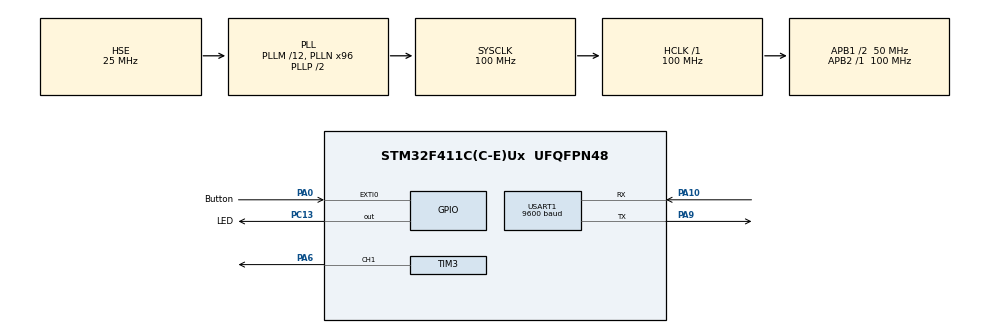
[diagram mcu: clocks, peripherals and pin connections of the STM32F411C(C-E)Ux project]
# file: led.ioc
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Mcu.Family=STM32F4
Mcu.Name=STM32F411C(C-E)Ux
Mcu.Package=UFQFPN48
NVIC.EXTI0_IRQn=true\:0\:0\:false\:false\:true\:true\:true\:true
NVIC.PriorityGroup=NVIC_PRIORITYGROUP_4
NVIC.USART1_IRQn=true\:0\:0\:false\:false\:true\:true\:true\:true
PA0-WKUP.GPIO_Label=Button
PA0-WKUP.GPIO_ModeDefaultEXTI=GPIO_MODE_IT_FALLING
PA0-WKUP.GPIO_PuPd=GPIO_PULLUP
PA0-WKUP.Signal=GPXTI0
PA10.Mode=Asynchronous
PA10.Signal=USART1_RX
PA13.Mode=Serial_Wire
PA13.Signal=SYS_JTMS-SWDIO
PA14.Mode=Serial_Wire
PA14.Signal=SYS_JTCK-SWCLK
PA6.Signal=S_TIM3_CH1
PA9.Mode=Asynchronous
PA9.Signal=USART1_TX
PC13-ANTI_TAMP.GPIO_Label=LED
PC13-ANTI_TAMP.PinState=GPIO_PIN_SET
PC13-ANTI_TAMP.Signal=GPIO_Output
PH0\ -\ OSC_IN.Mode=HSE-External-Oscillator
PH0\ -\ OSC_IN.Signal=RCC_OSC_IN
PH1\ -\ OSC_OUT.Mode=HSE-External-Oscillator
PH1\ -\ OSC_OUT.Signal=RCC_OSC_OUT
ProjectManager.HeapSize=0x200
ProjectManager.StackSize=0x400
ProjectManager.TargetToolchain=STM32CubeIDE
RCC.48MHZClocksFreq_Value=50000000
RCC.AHBFreq_Value=100000000
RCC.APB1CLKDivider=RCC_HCLK_DIV2
RCC.APB1Freq_Value=50000000
RCC.APB1TimFreq_Value=100000000
RCC.APB2Freq_Value=100000000
RCC.APB2TimFreq_Value=100000000
RCC.CortexFreq_Value=100000000
RCC.HCLKFreq_Value=100000000
RCC.HSE_VALUE=25000000
RCC.HSI_VALUE=16000000
RCC.LSE_VALUE=32768
RCC.PLLM=12
RCC.PLLN=96
RCC.PLLSourceVirtual=RCC_PLLSOURCE_HSE
RCC.SYSCLKFreq_VALUE=100000000
RCC.SYSCLKSource=RCC_SYSCLKSOURCE_PLLCLK
RCC.VCOOutputFreq_Value=200000000
SH.S_TIM3_CH1.0=TIM3_CH1,PWM Generation1 CH1
TIM3.AutoReloadPreload=TIM_AUTORELOAD_PRELOAD_ENABLE
TIM3.Channel-PWM\ Generation1\ CH1=TIM_CHANNEL_1
TIM3.Period=999
TIM3.Prescaler=99
TIM3.Pulse-PWM\ Generation1\ CH1=0
USART1.BaudRate=9600
USART1.VirtualMode=VM_ASYNC
VP_TIM3_VS_ClockSourceINT.Mode=Internal
board=custom

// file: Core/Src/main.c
/* USER CODE BEGIN Header */
/**
  ******************************************************************************
  * @file           : main.c
  * @brief          : Main program body
  ******************************************************************************
  * @attention
  *
  * Copyright (c) 2025 STMicroelectronics.
  * All rights reserved.
  *
  * This software is licensed under terms that can be found in the LICENSE file
  * in the root directory of this software component.
  * If no LICENSE file comes with this software, it is provided AS-IS.
  *
  ******************************************************************************
  */
/* USER CODE END Header */
#include "main.h"

/* USER CODE BEGIN Includes */
#include "led.h"
#include "string.h"
/* USER CODE END Includes */

/* USER CODE BEGIN PD */
uint8_t a;
uint8_t flag=0;
/* USER CODE END PD */

TIM_HandleTypeDef htim3;

UART_HandleTypeDef huart1;

void SystemClock_Config(void);
static void MX_GPIO_Init(void);
static void MX_TIM3_Init(void);
static void MX_USART1_UART_Init(void);

int main(void)
{

  /* USER CODE BEGIN 1 */
	char msg[]="hello\n";
  /* USER CODE END 1 */

  /* MCU Configuration--------------------------------------------------------*/

  /* Reset of all peripherals, Initializes the Flash interface and the Systick. */
  HAL_Init();

  /* Configure the system clock */
  SystemClock_Config();

  /* Initialize all configured peripherals */
  MX_GPIO_Init();
  MX_TIM3_Init();
  MX_USART1_UART_Init();
  /* USER CODE BEGIN 2 */
  HAL_TIM_PWM_Start(&htim3, TIM_CHANNEL_1);
  HAL_UART_Receive_IT(&huart1, &a, 1);
  /* USER CODE END 2 */

  /* Infinite loop */
  while (1)
  {

    /* USER CODE BEGIN 3 */

	  if(flag==0)
	  {
	   HAL_UART_Transmit(&huart1, (uint8_t*)msg, strlen(msg), 100);
	   HAL_Delay(500);
	  }

  }
  /* USER CODE END 3 */
}

void SystemClock_Config(void)
{
  RCC_OscInitTypeDef RCC_OscInitStruct = {0};
  RCC_ClkInitTypeDef RCC_ClkInitStruct = {0};

  /** Configure the main internal regulator output voltage
  */
  __HAL_RCC_PWR_CLK_ENABLE();
  __HAL_PWR_VOLTAGESCALING_CONFIG(PWR_REGULATOR_VOLTAGE_SCALE1);

  /** Initializes the RCC Oscillators according to the specified parameters
  * in the RCC_OscInitTypeDef structure.
  */
  RCC_OscInitStruct.OscillatorType = RCC_OSCILLATORTYPE_HSE;
  RCC_OscInitStruct.HSEState = RCC_HSE_ON;
  RCC_OscInitStruct.PLL.PLLState = RCC_PLL_ON;
  RCC_OscInitStruct.PLL.PLLSource = RCC_PLLSOURCE_HSE;
  RCC_OscInitStruct.PLL.PLLM = 12;
  RCC_OscInitStruct.PLL.PLLN = 96;
  RCC_OscInitStruct.PLL.PLLP = RCC_PLLP_DIV2;
  RCC_OscInitStruct.PLL.PLLQ = 4;
  if (HAL_RCC_OscConfig(&RCC_OscInitStruct) != HAL_OK)
  {
    Error_Handler();
  }

  /** Initializes the CPU, AHB and APB buses clocks
  */
  RCC_ClkInitStruct.ClockType = RCC_CLOCKTYPE_HCLK|RCC_CLOCKTYPE_SYSCLK
                              |RCC_CLOCKTYPE_PCLK1|RCC_CLOCKTYPE_PCLK2;
  RCC_ClkInitStruct.SYSCLKSource = RCC_SYSCLKSOURCE_PLLCLK;
  RCC_ClkInitStruct.AHBCLKDivider = RCC_SYSCLK_DIV1;
  RCC_ClkInitStruct.APB1CLKDivider = RCC_HCLK_DIV2;
  RCC_ClkInitStruct.APB2CLKDivider = RCC_HCLK_DIV1;

  if (HAL_RCC_ClockConfig(&RCC_ClkInitStruct, FLASH_LATENCY_3) != HAL_OK)
  {
    Error_Handler();
  }
}

static void MX_TIM3_Init(void)
{

  TIM_ClockConfigTypeDef sClockSourceConfig = {0};
  TIM_MasterConfigTypeDef sMasterConfig = {0};
  TIM_OC_InitTypeDef sConfigOC = {0};

  htim3.Instance = TIM3;
  htim3.Init.Prescaler = 99;
  htim3.Init.CounterMode = TIM_COUNTERMODE_UP;
  htim3.Init.Period = 999;
  htim3.Init.ClockDivision = TIM_CLOCKDIVISION_DIV1;
  htim3.Init.AutoReloadPreload = TIM_AUTORELOAD_PRELOAD_ENABLE;
  if (HAL_TIM_Base_Init(&htim3) != HAL_OK)
  {
    Error_Handler();
  }
  sClockSourceConfig.ClockSource = TIM_CLOCKSOURCE_INTERNAL;
  if (HAL_TIM_ConfigClockSource(&htim3, &sClockSourceConfig) != HAL_OK)
  {
    Error_Handler();
  }
  if (HAL_TIM_PWM_Init(&htim3) != HAL_OK)
  {
    Error_Handler();
  }
  sMasterConfig.MasterOutputTrigger = TIM_TRGO_RESET;
  sMasterConfig.MasterSlaveMode = TIM_MASTERSLAVEMODE_DISABLE;
  if (HAL_TIMEx_MasterConfigSynchronization(&htim3, &sMasterConfig) != HAL_OK)
  {
    Error_Handler();
  }
  sConfigOC.OCMode = TIM_OCMODE_PWM1;
  sConfigOC.Pulse = 0;
  sConfigOC.OCPolarity = TIM_OCPOLARITY_HIGH;
  sConfigOC.OCFastMode = TIM_OCFAST_DISABLE;
  if (HAL_TIM_PWM_ConfigChannel(&htim3, &sConfigOC, TIM_CHANNEL_1) != HAL_OK)
  {
    Error_Handler();
  }
  HAL_TIM_MspPostInit(&htim3);

}

static void MX_USART1_UART_Init(void)
{

  huart1.Instance = USART1;
  huart1.Init.BaudRate = 9600;
  huart1.Init.WordLength = UART_WORDLENGTH_8B;
  huart1.Init.StopBits = UART_STOPBITS_1;
  huart1.Init.Parity = UART_PARITY_NONE;
  huart1.Init.Mode = UART_MODE_TX_RX;
  huart1.Init.HwFlowCtl = UART_HWCONTROL_NONE;
  huart1.Init.OverSampling = UART_OVERSAMPLING_16;
  if (HAL_UART_Init(&huart1) != HAL_OK)
  {
    Error_Handler();
  }

}

static void MX_GPIO_Init(void)
{
  GPIO_InitTypeDef GPIO_InitStruct = {0};

  /* GPIO Ports Clock Enable */
  __HAL_RCC_GPIOC_CLK_ENABLE();
  __HAL_RCC_GPIOH_CLK_ENABLE();
  __HAL_RCC_GPIOA_CLK_ENABLE();

  /*Configure GPIO pin Output Level */
  HAL_GPIO_WritePin(LED_GPIO_Port, LED_Pin, GPIO_PIN_SET);

  /*Configure GPIO pin : LED_Pin */
  GPIO_InitStruct.Pin = LED_Pin;
  GPIO_InitStruct.Mode = GPIO_MODE_OUTPUT_PP;
  GPIO_InitStruct.Pull = GPIO_NOPULL;
  GPIO_InitStruct.Speed = GPIO_SPEED_FREQ_LOW;
  HAL_GPIO_Init(LED_GPIO_Port, &GPIO_InitStruct);

  /*Configure GPIO pin : Button_Pin */
  GPIO_InitStruct.Pin = Button_Pin;
  GPIO_InitStruct.Mode = GPIO_MODE_IT_FALLING;
  GPIO_InitStruct.Pull = GPIO_PULLUP;
  HAL_GPIO_Init(Button_GPIO_Port, &GPIO_InitStruct);

  /* EXTI interrupt init*/
  HAL_NVIC_SetPriority(EXTI0_IRQn, 0, 0);
  HAL_NVIC_EnableIRQ(EXTI0_IRQn);

}

/* USER CODE BEGIN 4 */
void HAL_GPIO_EXTI_Callback(uint16_t GPIO_Pin)
{
    if (GPIO_Pin == GPIO_PIN_0)
    {

     if (HAL_GPIO_ReadPin(Button_GPIO_Port, Button_Pin)==0 )
     {
    	 HAL_GPIO_TogglePin(LED_GPIO_Port, LED_Pin);
     }

    }
}

void HAL_UART_RxCpltCallback(UART_HandleTypeDef *huart)
{
	flag=1;
	uint32_t pre_time = HAL_GetTick();

	if (huart->Instance == USART1 && flag==1)
	{
	  HAL_UART_Transmit(&huart1, &a, 1, 100);
	  LED_Toggle();
	  if (HAL_GetTick()-pre_time > 500)
		{
		  HAL_GPIO_WritePin(LED_GPIO_Port, LED_Pin, GPIO_PIN_SET);
		}
	  HAL_UART_Receive_IT(&huart1, &a, 1);
	}

}

/* USER CODE END 4 */

void Error_Handler(void)
{
  __disable_irq();
  while (1)
  {
  }
}
